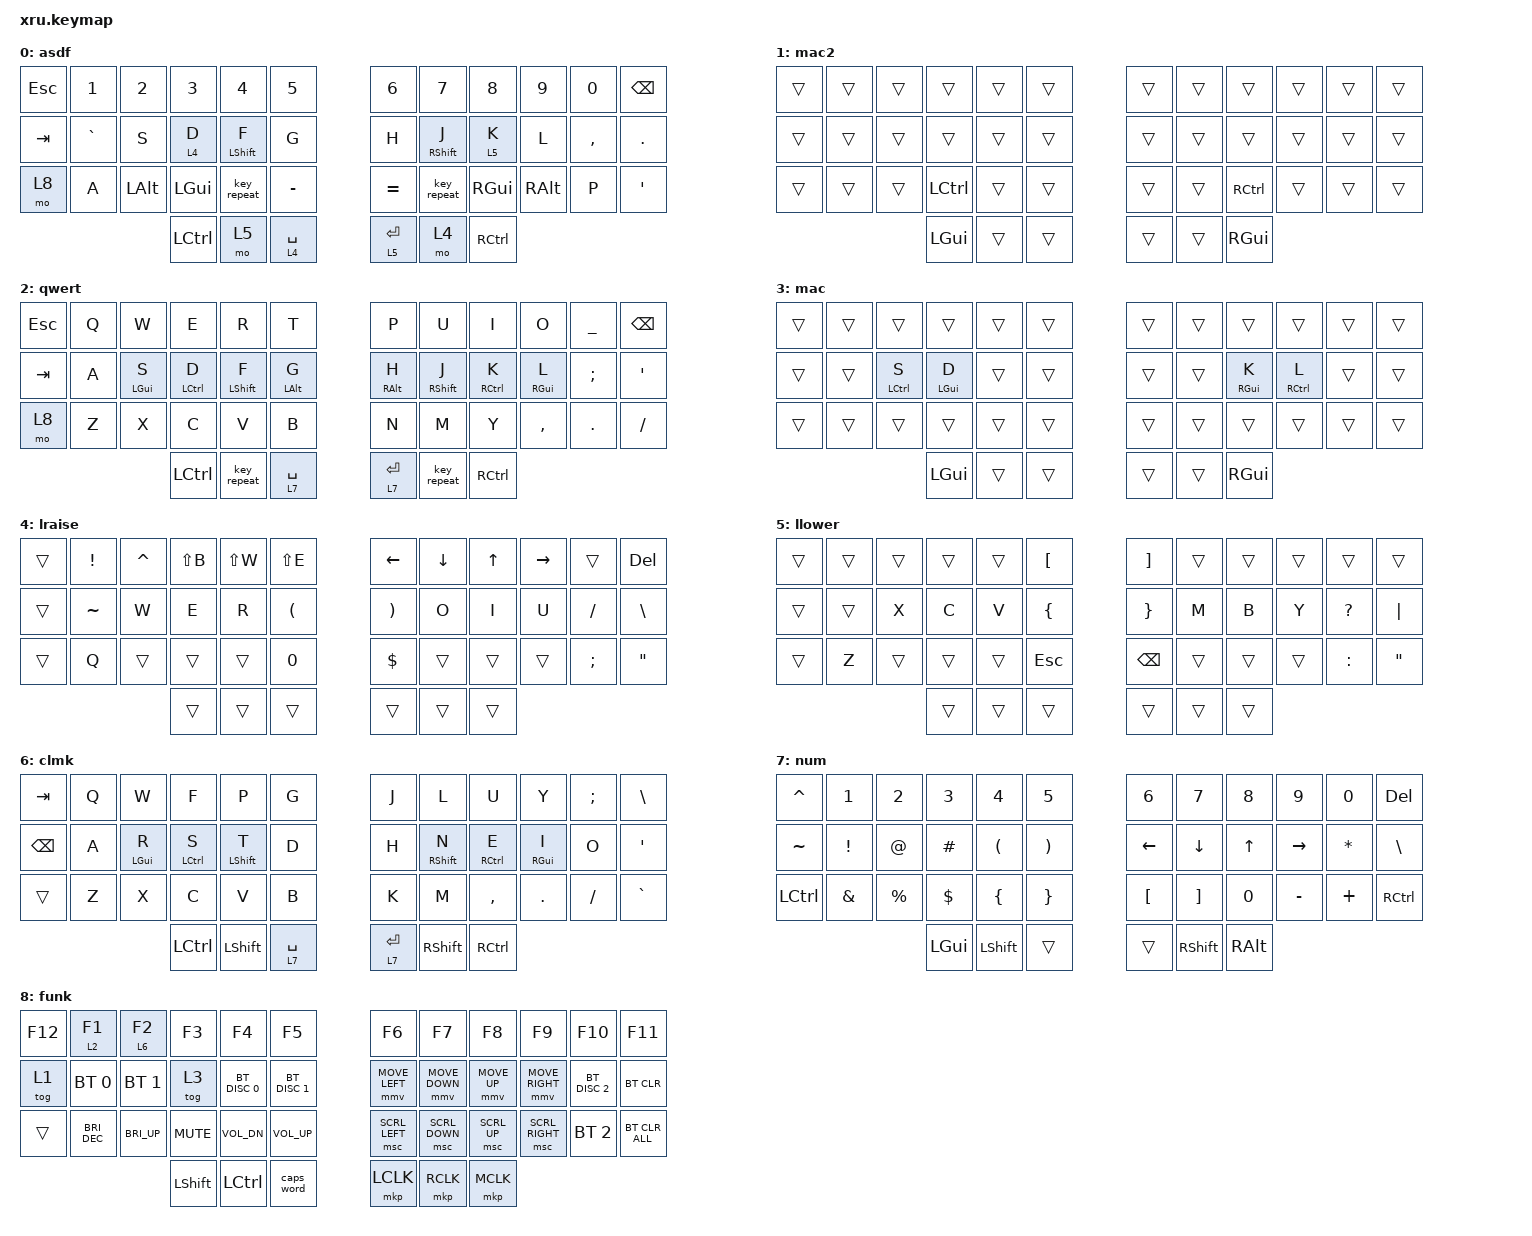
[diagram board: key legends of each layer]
#define ZMK_POINTING_DEFAULT_MOVE_VAL 1500
#define ZMK_POINTING_DEFAULT_SCRL_VAL 20

#include <behaviors.dtsi>
#include <dt-bindings/zmk/bt.h>
#include <dt-bindings/zmk/keys.h>
#include <dt-bindings/zmk/pointing.h>

/ {
    chosen { zmk,physical-layout = &foostan_corne_6col_layout; };
};

/ {
    behaviors {
        hml: hml {
            compatible = "zmk,behavior-hold-tap";
            bindings = <&kp>, <&kp>;

            #binding-cells = <2>;
            tapping-term-ms = <280>;
            quick-tap-ms = <175>;
            require-prior-idle-ms = <150>;
            flavor = "balanced";
            hold-trigger-on-release;
            hold-trigger-key-positions = <21 18 19 20 21 22 23 30 31 32 33 34 35 40 41 6 7 8 9 10 11 39>;
        };

        hmr: hmr {
            compatible = "zmk,behavior-hold-tap";
            bindings = <&kp>, <&kp>;

            #binding-cells = <2>;
            tapping-term-ms = <280>;
            quick-tap-ms = <175>;
            require-prior-idle-ms = <150>;
            flavor = "balanced";
            hold-trigger-on-release;
            hold-trigger-key-positions = <0 1 5 12 13 14 15 16 17 24 25 26 27 28 29 36 37 38 3 2 4>;
        };

        lyrtp: lyrtp {
            compatible = "zmk,behavior-hold-tap";
            bindings = <&to>, <&kp>;

            #binding-cells = <2>;
            tapping-term-ms = <280>;
            quick-tap-ms = <175>;
            flavor = "tap-preferred";
        };

        hld: hld {
            compatible = "zmk,behavior-hold-tap";
            bindings = <&mo>, <&kp>;

            #binding-cells = <2>;
            tapping-term-ms = <200>;
            quick-tap-ms = <140>;
            flavor = "hold-preferred";
            hold-while-undecided;
            hold-trigger-key-positions = <21 18 19 20 21 22 23 30 31 32 33 34 35 40 41 6 7 8 9 10 11 39 12 13 14 24 26 27 28 29 36 37 0 1 2 3 4 5 12 13 14 17 16 38 25>;
        };

        hlsp: hlsp {
            compatible = "zmk,behavior-hold-tap";
            bindings = <&mo>, <&kp>;

            #binding-cells = <2>;
            tapping-term-ms = <230>;
            quick-tap-ms = <140>;
            flavor = "hold-preferred";
            hold-while-undecided;
            hold-trigger-key-positions = <12 0 1 2 4 5 12 13 14 15 17 24 25 26 27 28 29 36 37 3 21 22 23 33 6 7 8 9 10 11 18 21 22 23 30 31 32 33 34 35 39 40 41 19 20 16>;
        };

        hrrt: hrrt {
            compatible = "zmk,behavior-hold-tap";
            bindings = <&mo>, <&kp>;

            #binding-cells = <2>;
            tapping-term-ms = <230>;
            quick-tap-ms = <140>;
            flavor = "hold-preferred";
            hold-while-undecided;
            hold-trigger-key-positions = <21 18 20 21 22 23 30 31 32 33 34 35 40 41 6 7 8 9 10 11 12 13 14 24 25 26 27 28 29 36 37 0 1 2 3 4 5 12 13 14 17 15 38 16 19>;
        };

        hrk: hrk {
            compatible = "zmk,behavior-hold-tap";
            bindings = <&mo>, <&kp>;

            #binding-cells = <2>;
            tapping-term-ms = <200>;
            quick-tap-ms = <140>;
            flavor = "hold-preferred";
            hold-while-undecided;
            hold-trigger-key-positions = <12 0 1 2 4 5 12 13 14 15 16 17 24 25 26 27 28 29 36 37 38 3 21 22 23 33 6 7 8 9 10 11 18 21 22 23 30 31 32 33 35 39 40 41 19 34>;
        };
    };

    combos {
        compatible = "zmk,combos";

        dft {
            bindings = <&kp T>;
            key-positions = <15 16>;
        };

        jkn {
            bindings = <&kp N>;
            key-positions = <19 20>;
        };
    };

    keymap {
        compatible = "zmk,keymap";

        asdf {
            bindings = <
&kp ESC  &kp N1     &kp N2    &kp N3        &kp N4         &kp N5           &kp N6          &kp N7         &kp N8     &kp N9    &kp N0     &kp BSPC
&kp TAB  &kp GRAVE  &kp S     &hld 4 D      &hml LSHIFT F  &kp G            &kp H           &hmr RSHIFT J  &hrk 5 K   &kp L     &kp COMMA  &kp DOT
&mo 8    &kp A      &kp LALT  &kp LEFT_GUI  &key_repeat    &kp MINUS        &kp EQUAL       &key_repeat    &kp RGUI   &kp RALT  &kp P      &kp APOS
                              &kp LCTRL     &mo 5          &hlsp 4 SPACE    &hrrt 5 RETURN  &mo 4          &kp RCTRL
            >;
        };

        mac2 {
            bindings = <
&trans  &trans  &trans  &trans     &trans  &trans    &trans  &trans  &trans     &trans  &trans  &trans
&trans  &trans  &trans  &trans     &trans  &trans    &trans  &trans  &trans     &trans  &trans  &trans
&trans  &trans  &trans  &kp LCTRL  &trans  &trans    &trans  &trans  &kp RCTRL  &trans  &trans  &trans
                        &kp LGUI   &trans  &trans    &trans  &trans  &kp RGUI
            >;
        };

        qwert {
            bindings = <
&kp ESC  &kp Q  &kp W            &kp E         &kp R              &kp T              &kp P             &kp U          &kp I         &kp O             &kp UNDER      &kp BSPC
&kp TAB  &kp A  &hml LEFT_GUI S  &hml LCTRL D  &hml LEFT_SHIFT F  &hml LEFT_ALT G    &hmr RIGHT_ALT H  &hmr RSHIFT J  &hmr RCTRL K  &hmr RIGHT_GUI L  &kp SEMICOLON  &kp SQT
&mo 8    &kp Z  &kp X            &kp C         &kp V              &kp B              &kp N             &kp M          &kp Y         &kp COMMA         &kp DOT        &kp SLASH
                                 &kp LCTRL     &key_repeat        &hlsp 7 SPACE      &hrrt 7 ENTER     &key_repeat    &kp RCTRL
            >;
        };

        mac {
            bindings = <
&trans  &trans  &trans        &trans           &trans  &trans    &trans  &trans  &trans       &trans        &trans  &trans
&trans  &trans  &hml LCTRL S  &hml LEFT_GUI D  &trans  &trans    &trans  &trans  &hmr RGUI K  &hmr RCTRL L  &trans  &trans
&trans  &trans  &trans        &trans           &trans  &trans    &trans  &trans  &trans       &trans        &trans  &trans
                              &kp LGUI         &trans  &trans    &trans  &trans  &kp RGUI
            >;
        };

        lraise {
            bindings = <
&trans  &kp EXCL   &kp CARET  &kp LS(B)  &kp LS(W)  &kp LS(E)    &kp LEFT               &kp DOWN  &kp UP  &kp RIGHT  &trans    &kp DEL
&trans  &kp TILDE  &kp W      &kp E      &kp R      &kp LPAR     &kp RIGHT_PARENTHESIS  &kp O     &kp I   &kp U      &kp FSLH  &kp BSLH
&trans  &kp Q      &trans     &trans     &trans     &kp N0       &kp DLLR               &trans    &trans  &trans     &kp SEMI  &kp DOUBLE_QUOTES
                              &trans     &trans     &trans       &trans                 &trans    &trans
            >;
        };

        llower {
            bindings = <
&trans  &trans  &trans  &trans  &trans  &kp LBKT    &kp RBKT         &trans  &trans  &trans  &trans        &trans
&trans  &trans  &kp X   &kp C   &kp V   &kp LBRC    &kp RIGHT_BRACE  &kp M   &kp B   &kp Y   &kp QUESTION  &kp PIPE
&trans  &kp Z   &trans  &trans  &trans  &kp ESC     &kp BACKSPACE    &trans  &trans  &trans  &kp COLON     &kp DOUBLE_QUOTES
                        &trans  &trans  &trans      &trans           &trans  &trans
            >;
        };

        clmk {
            bindings = <
&kp TAB   &kp Q  &kp W            &kp F         &kp P          &kp G            &kp J           &kp L         &kp U         &kp Y             &kp SEMI  &kp BSLH
&kp BSPC  &kp A  &hml LEFT_GUI R  &hml LCTRL S  &hml LSHIFT T  &kp D            &kp H           &hmr RSHFT N  &hmr RCTRL E  &hmr RIGHT_GUI I  &kp O     &kp SQT
&trans    &kp Z  &kp X            &kp C         &kp V          &kp B            &kp K           &kp M         &kp COMMA     &kp DOT           &kp FSLH  &kp GRAVE
                                  &kp LCTRL     &kp LSHFT      &hlsp 7 SPACE    &hrrt 7 RETURN  &kp RSHFT     &kp RCTRL
            >;
        };

        num {
            bindings = <
&kp CARET  &kp N1    &kp N2       &kp N3      &kp N4          &kp N5             &kp N6    &kp N7     &kp N8    &kp N9     &kp N0     &kp DEL
&kp TILDE  &kp EXCL  &kp AT       &kp HASH    &kp LPAR        &kp RPAR           &kp LEFT  &kp DOWN   &kp UP    &kp RIGHT  &kp ASTRK  &kp BACKSLASH
&kp LCTRL  &kp AMPS  &kp PERCENT  &kp DOLLAR  &kp LEFT_BRACE  &kp RIGHT_BRACE    &kp LBKT  &kp RBKT   &kp N0    &kp MINUS  &kp PLUS   &kp RCTRL
                                  &kp LGUI    &kp LSHFT       &trans             &trans    &kp RSHFT  &kp RALT
            >;
        };

        funk {
            bindings = <
&kp F12  &lyrtp 2 F1    &lyrtp 6 F2   &kp F3          &kp F4         &kp F5           &kp F6          &kp F7          &kp F8        &kp F9           &kp F10        &kp F11
&tog 1   &bt BT_SEL 0   &bt BT_SEL 1  &tog 3          &bt BT_DISC 0  &bt BT_DISC 1    &mmv MOVE_LEFT  &mmv MOVE_DOWN  &mmv MOVE_UP  &mmv MOVE_RIGHT  &bt BT_DISC 2  &bt BT_CLR
&trans   &kp C_BRI_DEC  &kp C_BRI_UP  &kp C_MUTE      &kp C_VOL_DN   &kp C_VOL_UP     &msc SCRL_LEFT  &msc SCRL_DOWN  &msc SCRL_UP  &msc SCRL_RIGHT  &bt BT_SEL 2   &bt BT_CLR_ALL
                                      &kp LEFT_SHIFT  &kp LCTRL      &caps_word       &mkp LCLK       &mkp RCLK       &mkp MCLK
            >;
        };
    };
};
